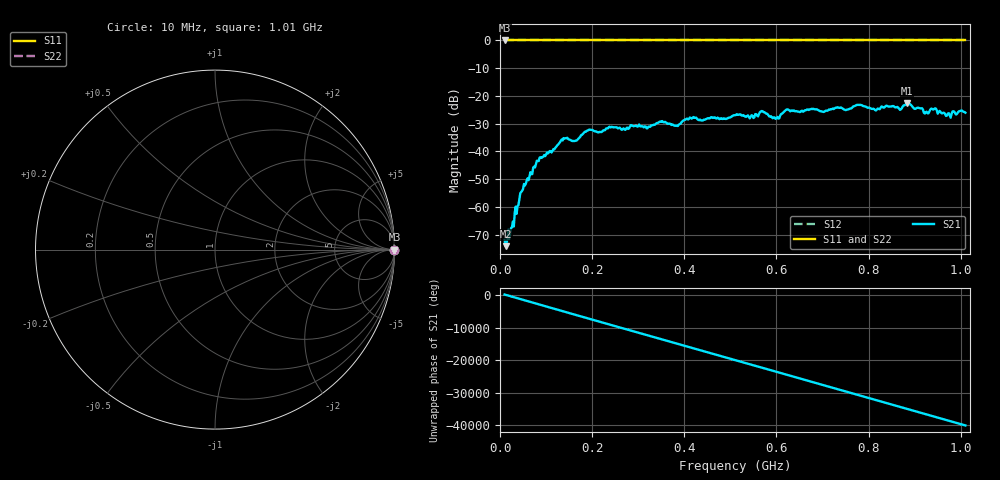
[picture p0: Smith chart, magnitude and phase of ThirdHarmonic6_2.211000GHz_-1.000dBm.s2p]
! 8/17/2025 2:20:42 AM
! C:\ANRITSUVNA\TEMP\TEMP.S2P
! CHANNEL.1
! TR.MEASUREMENT
! RAW.DATA
! RF.CORRECTION.OFF
! AVERAGING.OFF
! IF.BANDWIDTH: 5KHZ
! SWEEPTYPE:  FREQ.SWEEP(Linear)
! Reference Plane Port Info
! PORT:  PORT1  PORT2
! DISTANCE:  0  m  0  m
! TIME:  0  s  0  s
! PHASE.OFFSET:  0  deg.  0  deg.
! LOSS:  0  dB  0  dB
! REF.LOSS:  0  dB  0  dB
! REF.FREQ:  0  Hz  0  Hz
! Power Info
! POWER:  -20  dBm  -20  dBm
! EFF.POWER:  -20  dBm  -20  dBm
! SOURCE.ATTEN:  0  dB  0  dB
! TEST.ATTEN:  0  dB  0  dB
# GHZ S RI R 50.0
! FREQ.GHZ  S11RE  S11IM  S21RE  S21IM  S12RE  S12IM  S22RE  S22IM
!; PortSelection: Port_12
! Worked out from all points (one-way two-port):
!   501 points, 10 MHz to 1.01 GHz, reference 50 ohm
!   highest |S21| = -22.68 dB at 884 MHz (marker M1); lowest = -74.2 dB at 12 MHz (marker M2)
!   lowest |S11| = 0.0 dB at 10 MHz (marker M3)
!   |S11| at or under -10 dB: nowhere
!   |S22| runs from 0.0 to 0.0 dB; largest |S21 - S12| = 1.1
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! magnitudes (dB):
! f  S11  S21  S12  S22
! 10 MHz  0.0  -71.8  0.0  0.0
! 12 MHz  0.0  -74.2  0.0  0.0
! 26 MHz  0.0  -67.4  0.0  0.0
! 48 MHz  0.0  -54.2  0.0  0.0
! 84 MHz  0.0  -43.5  0.0  0.0
! 136 MHz  0.0  -36.1  0.0  0.0
! 162 MHz  0.0  -36.2  0.0  0.0
! 178 MHz  0.0  -34.0  0.0  0.0
! 344 MHz  0.0  -29.6  0.0  0.0
! 382 MHz  0.0  -30.7  0.0  0.0
! 416 MHz  0.0  -28.2  0.0  0.0
! 510 MHz  0.0  -27.0  0.0  0.0
! 546 MHz  0.0  -26.9  0.0  0.0
! 570 MHz  0.0  -25.5  0.0  0.0
! 602 MHz  0.0  -27.6  0.0  0.0
! 622 MHz  0.0  -24.9  0.0  0.0
! 678 MHz  0.0  -24.7  0.0  0.0
! 844 MHz  0.0  -23.9  0.0  0.0
! 868 MHz  0.0  -25.0  0.0  0.0
! 884 MHz  0.0  -22.7  0.0  0.0
! 924 MHz  0.0  -25.8  0.0  0.0
! 1.01 GHz  0.0  -26.0  0.0  0.0
